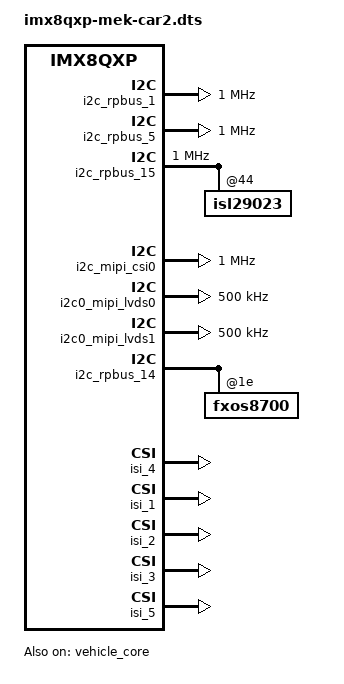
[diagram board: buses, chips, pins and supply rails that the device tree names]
/*
 * Copyright 2020,2025 NXP
 *
 * This program is free software; you can redistribute it and/or
 * modify it under the terms of the GNU General Public License
 * as published by the Free Software Foundation; either version 2
 * of the License, or (at your option) any later version.
 *
 * This program is distributed in the hope that it will be useful,
 * but WITHOUT ANY WARRANTY; without even the implied warranty of
 * MERCHANTABILITY or FITNESS FOR A PARTICULAR PURPOSE.  See the
 * GNU General Public License for more details.
 */

#include "imx8qxp-mek-rpmsg.dts"

&i2c_rpbus_1 {
	clock-frequency = <1000000>;
};

&i2c_rpbus_5 {
	clock-frequency = <1000000>;
};

&i2c_rpbus_15 {
	clock-frequency = <1000000>;
	isl29023@44 {
		status = "okay";
	};
};

&i2c_mipi_csi0 {
	clock-frequency = <1000000>;
};

&i2c0_mipi_lvds0 {
	clock-frequency = <500000>;
	adv7535@3d {
		status = "disabled";
	};
};

&i2c0_mipi_lvds1 {
	clock-frequency = <500000>;
	adv7535@3d {
		status = "disabled";
	};
};

&pwm_mipi_lvds0 {
	status = "disabled";
};

&lvds_backlight0 {
	status = "disabled";
};

&pwm_mipi_lvds1 {
	status = "disabled";
};

&lvds_backlight1 {
	status = "disabled";
};

&mipi0_dphy {
	status = "disabled";
};

&mipi0_dsi_host {
	status = "disabled";
};

&mipi1_dphy {
	status = "disabled";
};

&mipi1_dsi_host {
	status = "disabled";
};

&usdhc2 {
	status = "disabled";
};

&amix {
	status = "disabled";
};

&asrc0 {
	status = "disabled";
};

&wm8960 {
	quick-probe;
};

&vehicle_core {
	status = "okay";
};

/* used for can io expander */
&pca6416 {
	status = "disabled";
};

&ov5640 {
	status = "disabled";
};

&i2c_rpbus_12 {
	status = "disabled";
};

&i2c_rpbus_14 {
	status = "okay";

	fxos8700@1e {
		status = "okay";
	};
};

&adv_bridge0 {
	status = "disabled";
};

&adv_bridge1 {
	status = "disabled";
};

&fec2 {
	status = "disabled";
};

&flexspi0 {
	status = "disabled";
};

&parallel_csi {
	status = "disabled";
};

&sai4 {
	status = "disabled";
};

&sai5 {
	status = "disabled";
};

&lpuart3 {
	status = "disabled";
};

&crypto {
	status = "disabled";
};

&isi_4 {
	status = "disabled";
};

// ISI channel allocation
//
// ISI 0 - memory to memory for scaling and colorspace conversion
// ISI 1 - OV10635 ch 0
// ISI 2 - OV10635 ch 1
// ISI 3 - OV10635 ch 2
// ISI 4 - OV5640 PARALLEL_CSI
// ISI 5 - OV10635 ch 3

&isi_0 {
	interface = <5 0 2>; // Memory to memory

	cap_device {
		status = "disabled"; // No assigned camera
	};
};

&isi_1 {
	status = "okay";

	interface = <2 0 2>; // MIPI-CSI2, MIPI_VC0 to memory - VC as MIPI_VCx

	cap_device {
		status = "okay";
	};
};

&isi_2 {
	status = "okay";

	interface = <2 1 2>; // MIPI-CSI2, MIPI_VC1 to memory - VC as MIPI_VCx

	cap_device {
		status = "okay";
	};
};

&isi_3 {
	status = "okay";

	interface = <2 2 2>; // MIPI-CSI2, MIPI_VC2 to memory - VC as MIPI_VCx

	cap_device {
		status = "okay";
	};
};

&isi_4 {
	status = "okay";

	interface = <6 0 2>; // PARALLEL_CSI

	cap_device {
		status = "okay";
	};
};

&isi_5 {
	status = "okay";

	interface = <2 3 2>; // MIPI-CSI2, MIPI_VC3 to memory - VC as MIPI_VCx

	cap_device {
		status = "okay";
	};
};
